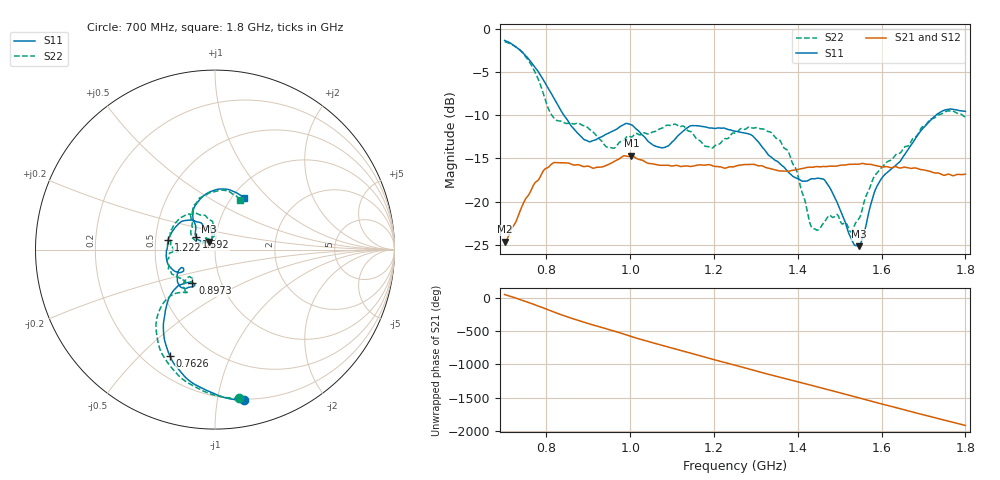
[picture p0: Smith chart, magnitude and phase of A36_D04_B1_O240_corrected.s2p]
! Created with skrf 1.9.0 (http://scikit-rf.org).
# Hz S RI R 50.0
!freq ReS11 ImS11 ReS21 ImS21 ReS12 ImS12 ReS22 ImS22
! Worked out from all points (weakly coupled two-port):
!   1601 points, 700 MHz to 1.8 GHz, reference 50 ohm
!   highest |S21| = -14.68 dB at 1.002 GHz (marker M1); lowest = -24.6 dB at 700 MHz (marker M2)
!   lowest |S11| = -25.1 dB at 1.546 GHz (marker M3), VSWR 1.12, Z = 46.7 + j4.18 ohm
!   |S11| at or under -10 dB: 841.3 MHz to 1.73 GHz (888.2 MHz wide, 69.1 % of centre)
!   |S22| runs from -23.5 to -1.5 dB; largest |S21 - S12| = 0.0034
!   S11 on the Smith chart (normalised r, x): 700 MHz: 0.19, -1.19; 762.6 MHz: 0.31, -0.62; 897.3 MHz: 0.73, -0.29; 1.222 GHz: 0.58, +0.07; 1.592 GHz: 0.80, +0.11; 1.8 GHz: 1.14, +0.74
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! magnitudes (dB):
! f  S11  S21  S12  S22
! 700 MHz  -1.4  -24.6  -24.4  -1.5
! 762.6 MHz  -3.8  -18.7  -18.7  -4.1
! 816.9 MHz  -7.9  -15.5  -15.6  -10.3
! 883.6 MHz  -12.5  -15.9  -15.8  -11.1
! 897.3 MHz  -13.0  -15.9  -16.0  -11.4
! 948.2 MHz  -12.1  -15.7  -15.7  -13.7
! 1.002 GHz  -11.1  -14.7  -14.8  -12.5
! 1.067 GHz  -13.7  -15.8  -15.7  -11.7
! 1.144 GHz  -11.2  -15.9  -15.9  -11.9
! 1.191 GHz  -11.5  -15.7  -15.8  -13.8
! 1.222 GHz  -11.5  -16.1  -16.1  -12.8
! 1.25 GHz  -11.9  -15.9  -15.9  -12.1
! 1.357 GHz  -15.6  -16.5  -16.4  -12.9
! 1.396 GHz  -17.3  -16.3  -16.3  -16.2
! 1.434 GHz  -17.3  -16.0  -16.0  -23.0
! 1.469 GHz  -17.8  -15.9  -15.9  -22.0
! 1.526 GHz  -24.1  -15.7  -15.7  -23.5
! 1.546 GHz  -25.1  -15.7  -15.6  -21.9
! 1.592 GHz  -18.0  -15.9  -15.9  -16.5
! 1.617 GHz  -16.5  -16.0  -16.0  -15.3
! 1.731 GHz  -10.0  -16.7  -16.7  -10.2
! 1.8 GHz  -9.6  -16.8  -16.8  -10.2
